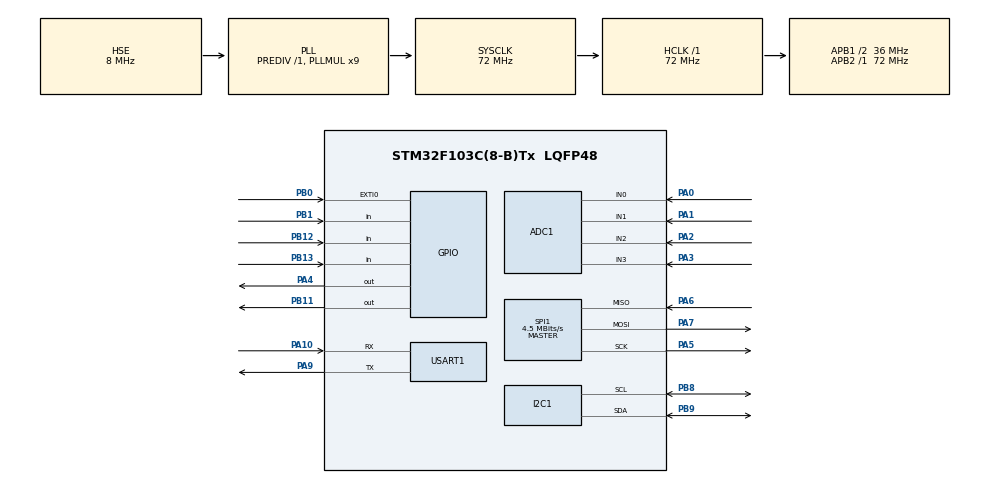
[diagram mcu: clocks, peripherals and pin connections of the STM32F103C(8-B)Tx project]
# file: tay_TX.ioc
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ADC1.Channel-0\#ChannelRegularConversion=ADC_CHANNEL_0
ADC1.NbrOfConversionFlag=1
ADC1.Rank-0\#ChannelRegularConversion=1
ADC1.SamplingTime-0\#ChannelRegularConversion=ADC_SAMPLETIME_1CYCLE_5
ADC1.master=1
Mcu.Family=STM32F1
Mcu.Name=STM32F103C(8-B)Tx
Mcu.Package=LQFP48
NVIC.PriorityGroup=NVIC_PRIORITYGROUP_4
PA0-WKUP.Signal=ADCx_IN0
PA1.Signal=ADCx_IN1
PA10.Mode=Asynchronous
PA10.Signal=USART1_RX
PA13.Mode=Serial_Wire
PA13.Signal=SYS_JTMS-SWDIO
PA14.Mode=Serial_Wire
PA14.Signal=SYS_JTCK-SWCLK
PA2.Signal=ADCx_IN2
PA3.Signal=ADCx_IN3
PA4.GPIO_Speed=GPIO_SPEED_FREQ_HIGH
PA4.PinState=GPIO_PIN_SET
PA4.Signal=GPIO_Output
PA5.Mode=Full_Duplex_Master
PA5.Signal=SPI1_SCK
PA6.Mode=Full_Duplex_Master
PA6.Signal=SPI1_MISO
PA7.Mode=Full_Duplex_Master
PA7.Signal=SPI1_MOSI
PA9.Mode=Asynchronous
PA9.Signal=USART1_TX
PB0.Signal=GPXTI0
PB1.Signal=GPIO_Input
PB11.Signal=GPIO_Output
PB12.GPIO_PuPd=GPIO_PULLUP
PB12.Signal=GPIO_Input
PB13.GPIO_PuPd=GPIO_PULLUP
PB13.Signal=GPIO_Input
PB8.Mode=I2C
PB8.Signal=I2C1_SCL
PB9.Mode=I2C
PB9.Signal=I2C1_SDA
PD0-OSC_IN.Mode=HSE-External-Oscillator
PD0-OSC_IN.Signal=RCC_OSC_IN
PD1-OSC_OUT.Mode=HSE-External-Oscillator
PD1-OSC_OUT.Signal=RCC_OSC_OUT
ProjectManager.HeapSize=0x200
ProjectManager.StackSize=0x400
ProjectManager.TargetToolchain=STM32CubeIDE
RCC.ADCPresc=RCC_ADCPCLK2_DIV6
RCC.AHBFreq_Value=72000000
RCC.APB1CLKDivider=RCC_HCLK_DIV2
RCC.APB1Freq_Value=36000000
RCC.APB1TimFreq_Value=72000000
RCC.APB2Freq_Value=72000000
RCC.APB2TimFreq_Value=72000000
RCC.HCLKFreq_Value=72000000
RCC.PLLMUL=RCC_PLL_MUL9
RCC.PLLSourceVirtual=RCC_PLLSOURCE_HSE
RCC.SYSCLKFreq_VALUE=72000000
RCC.SYSCLKSource=RCC_SYSCLKSOURCE_PLLCLK
RCC.USBFreq_Value=72000000
SH.ADCx_IN0.0=ADC1_IN0,IN0
SH.ADCx_IN1.0=ADC1_IN1,IN1
SH.ADCx_IN2.0=ADC1_IN2,IN2
SH.ADCx_IN3.0=ADC1_IN3,IN3
SPI1.BaudRatePrescaler=SPI_BAUDRATEPRESCALER_16
SPI1.CalculateBaudRate=4.5 MBits/s
SPI1.Direction=SPI_DIRECTION_2LINES
SPI1.Mode=SPI_MODE_MASTER
SPI1.VirtualType=VM_MASTER
USART1.VirtualMode=VM_ASYNC
board=custom

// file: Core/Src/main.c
/* USER CODE BEGIN Header */
/**
  ******************************************************************************
  * @file           : main.c
  * @brief          : Main program body
  ******************************************************************************
  * @attention
  *
  * Copyright (c) 2026 STMicroelectronics.
  * All rights reserved.
  *
  * This software is licensed under terms that can be found in the LICENSE file
  * in the root directory of this software component.
  * If no LICENSE file comes with this software, it is provided AS-IS.
  *
  ******************************************************************************
  */
/* USER CODE END Header */
#include "main.h"

/* USER CODE BEGIN Includes */
#include "ssd1306.h"
#include "ssd1306_fonts.h"
#include "LoRa.h"
#include <stdio.h>
#include <string.h>
/* USER CODE END Includes */

/* USER CODE BEGIN PTD */
typedef struct __attribute__((packed))
{
    uint16_t j1x;
    uint16_t j1y;
    uint16_t j2x;
    uint16_t j2y;
    uint8_t  sw1;
    uint8_t  sw2;
    uint16_t crc;
} ControlPacket;
/* USER CODE END PTD */

/* USER CODE BEGIN PD */
#define LORA_FREQ_MHZ       915
#define TX_PERIOD_MS        20
/* USER CODE END PD */

ADC_HandleTypeDef hadc1;

I2C_HandleTypeDef hi2c1;

SPI_HandleTypeDef hspi1;

UART_HandleTypeDef huart1;

/* USER CODE BEGIN PV */
LoRa myLoRa;
/* USER CODE END PV */

void SystemClock_Config(void);
static void MX_GPIO_Init(void);
static void MX_ADC1_Init(void);
static void MX_I2C1_Init(void);
static void MX_SPI1_Init(void);
static void MX_USART1_UART_Init(void);
/* USER CODE BEGIN PFP */
void LoRa_TX_Init(void);
uint16_t simple_crc16(uint8_t *data, uint16_t len);
uint16_t ADC_Read_Channel(uint32_t channel);
uint16_t ADC_Read_Avg(uint32_t channel);
uint8_t SW1_Read(void);
uint8_t SW2_Read(void);
void UART_Send_Status(uint16_t j1x, uint16_t j1y, uint8_t sw1,
                      uint16_t j2x, uint16_t j2y, uint8_t sw2,
                      uint8_t tx_ok);
void OLED_Show_Status(uint16_t j1x, uint16_t j1y, uint8_t sw1,
                      uint16_t j2x, uint16_t j2y, uint8_t sw2,
                      uint8_t tx_ok);
/* USER CODE END PFP */

/* USER CODE BEGIN 0 */
uint16_t Apply_Deadband(uint16_t val, uint16_t center, uint16_t deadband)
{
    if (val > (center - deadband) && val < (center + deadband))
        return center;
    return val;
}
uint16_t simple_crc16(uint8_t *data, uint16_t len)
{
    uint16_t crc = 0xFFFF;

    for (uint16_t i = 0; i < len; i++)
    {
        crc ^= data[i];
        for (uint8_t j = 0; j < 8; j++)
        {
            if (crc & 1U)
            {
                crc = (crc >> 1) ^ 0xA001;
            }
            else
            {
                crc >>= 1;
            }
        }
    }

    return crc;
}

uint16_t ADC_Read_Channel(uint32_t channel)
{
    ADC_ChannelConfTypeDef sConfig = {0};

    sConfig.Channel = channel;
    sConfig.Rank = ADC_REGULAR_RANK_1;
    sConfig.SamplingTime = ADC_SAMPLETIME_71CYCLES_5;

    HAL_ADC_ConfigChannel(&hadc1, &sConfig);
    HAL_ADC_Start(&hadc1);
    HAL_ADC_PollForConversion(&hadc1, 10);

    uint16_t value = HAL_ADC_GetValue(&hadc1);

    HAL_ADC_Stop(&hadc1);
    return value;
}

uint16_t ADC_Read_Avg(uint32_t channel)
{
    uint32_t sum = 0;
    for (int i = 0; i < 8; i++)
    {
        sum += ADC_Read_Channel(channel);
    }
    return (uint16_t)(sum / 8U);
}

uint8_t SW1_Read(void)
{
    return (HAL_GPIO_ReadPin(GPIOB, GPIO_PIN_12) == GPIO_PIN_RESET) ? 1U : 0U;
}

uint8_t SW2_Read(void)
{
    return (HAL_GPIO_ReadPin(GPIOB, GPIO_PIN_13) == GPIO_PIN_RESET) ? 1U : 0U;
}

void UART_Send_Status(uint16_t j1x, uint16_t j1y, uint8_t sw1,
                      uint16_t j2x, uint16_t j2y, uint8_t sw2,
                      uint8_t tx_ok)
{
    char buffer[120];

    snprintf(buffer, sizeof(buffer),
             "J1:%4u,%4u SW1:%u | J2:%4u,%4u SW2:%u | %s\r\n",
             j1x, j1y, sw1, j2x, j2y, sw2, tx_ok ? "TX_OK" : "TX_FAIL");

    HAL_UART_Transmit(&huart1, (uint8_t *)buffer, strlen(buffer), 100);
}

void OLED_Show_Status(uint16_t j1x, uint16_t j1y, uint8_t sw1,
                      uint16_t j2x, uint16_t j2y, uint8_t sw2,
                      uint8_t tx_ok)
{
    char line[24];

    ssd1306_Fill(Black);

    ssd1306_SetCursor(0, 0);
    ssd1306_WriteString((char *)(tx_ok ? "LORA TX OK 915MHz" : "LORA TX FAIL"), Font_7x10, White);

    snprintf(line, sizeof(line), "J1 %4u %4u", j1x, j1y);
    ssd1306_SetCursor(15, 16);
    ssd1306_WriteString(line, Font_7x10, White);

    snprintf(line, sizeof(line), "J2 %4u %4u", j2x, j2y);
    ssd1306_SetCursor(15, 28);
    ssd1306_WriteString(line, Font_7x10, White);

    snprintf(line, sizeof(line), "S1:%u S2:%u", sw1, sw2);
    ssd1306_SetCursor(36, 40);
    ssd1306_WriteString(line, Font_7x10, White);

    ssd1306_UpdateScreen();
}

void LoRa_TX_Init(void)
{
    char msg[64];

    HAL_GPIO_WritePin(GPIOA, GPIO_PIN_4, GPIO_PIN_SET);

    HAL_GPIO_WritePin(GPIOB, GPIO_PIN_11, GPIO_PIN_RESET);
    HAL_Delay(20);
    HAL_GPIO_WritePin(GPIOB, GPIO_PIN_11, GPIO_PIN_SET);
    HAL_Delay(20);

    myLoRa = newLoRa();
    myLoRa.hSPIx = &hspi1;

    myLoRa.CS_port = GPIOA;
    myLoRa.CS_pin = GPIO_PIN_4;

    myLoRa.reset_port = GPIOB;
    myLoRa.reset_pin = GPIO_PIN_11;

    myLoRa.DIO0_port = GPIOB;
    myLoRa.DIO0_pin = GPIO_PIN_0;

    myLoRa.frequency = 915;
    myLoRa.spredingFactor = SF_7;
    myLoRa.bandWidth = BW_125KHz;
    myLoRa.crcRate = CR_4_5;
    myLoRa.power = POWER_20db;
    myLoRa.overCurrentProtection = 100;
    myLoRa.preamble = 8;

    if (LoRa_init(&myLoRa) == LORA_OK)
    {
        sprintf(msg, "LoRa init OK\r\n");
        HAL_UART_Transmit(&huart1, (uint8_t*)msg, strlen(msg), 100);

        ssd1306_Fill(Black);
        ssd1306_SetCursor(0, 0);
        ssd1306_WriteString("LoRa init OK", Font_7x10, White);
        ssd1306_UpdateScreen();
    }
    else
    {
        sprintf(msg, "LoRa init FAIL\r\n");
        HAL_UART_Transmit(&huart1, (uint8_t*)msg, strlen(msg), 100);

        ssd1306_Fill(Black);
        ssd1306_SetCursor(0, 0);
        ssd1306_WriteString("LoRa init FAIL", Font_7x10, White);
        ssd1306_UpdateScreen();

        while (1);
    }
}
/* USER CODE END 0 */

int main(void)
{

  /* MCU Configuration--------------------------------------------------------*/

  /* Reset of all peripherals, Initializes the Flash interface and the Systick. */
  HAL_Init();

  /* Configure the system clock */
  SystemClock_Config();

  /* Initialize all configured peripherals */
  MX_GPIO_Init();
  MX_ADC1_Init();
  MX_I2C1_Init();
  MX_SPI1_Init();
  MX_USART1_UART_Init();
  /* USER CODE BEGIN 2 */
  HAL_Delay(20);

  ssd1306_Init();
  ssd1306_Fill(Black);
  ssd1306_SetCursor(0, 0);
  ssd1306_WriteString("TX BOOT", Font_7x10, White);
  ssd1306_UpdateScreen();

  LoRa_TX_Init();
  /* USER CODE END 2 */

  /* Infinite loop */
  /* USER CODE BEGIN WHILE */
  while (1)
  {
    uint16_t j1x = ADC_Read_Avg(ADC_CHANNEL_0);
    uint16_t j1y = ADC_Read_Avg(ADC_CHANNEL_1);
    uint16_t j2x = ADC_Read_Avg(ADC_CHANNEL_2);
    uint16_t j2y = ADC_Read_Avg(ADC_CHANNEL_3);

    uint8_t sw1 = SW1_Read();
    uint8_t sw2 = SW2_Read();

    j1x = Apply_Deadband(j1x, 2000, 80);
    j1y = Apply_Deadband(j1y, 2000, 80);
    j2x = Apply_Deadband(j2x, 2000, 80);
    j2y = Apply_Deadband(j2y, 2000, 80);

    ControlPacket pkt;
    pkt.j1x = j1x;
    pkt.j1y = j1y;
    pkt.j2x = j2x;
    pkt.j2y = j2y;
    pkt.sw1 = sw1;
    pkt.sw2 = sw2;
    pkt.crc = 0;
    pkt.crc = simple_crc16((uint8_t *)&pkt, sizeof(ControlPacket) - sizeof(pkt.crc));

    uint8_t tx_ok = LoRa_transmit(&myLoRa, (uint8_t *)&pkt, sizeof(ControlPacket), 200);

    UART_Send_Status(j1x, j1y, sw1, j2x, j2y, sw2, tx_ok);
    OLED_Show_Status(j1x, j1y, sw1, j2x, j2y, sw2, tx_ok);

    HAL_Delay(TX_PERIOD_MS);
    /* USER CODE END WHILE */

  }
}

void SystemClock_Config(void)
{
  RCC_OscInitTypeDef RCC_OscInitStruct = {0};
  RCC_ClkInitTypeDef RCC_ClkInitStruct = {0};
  RCC_PeriphCLKInitTypeDef PeriphClkInit = {0};

  /** Initializes the RCC Oscillators according to the specified parameters
  * in the RCC_OscInitTypeDef structure.
  */
  RCC_OscInitStruct.OscillatorType = RCC_OSCILLATORTYPE_HSE;
  RCC_OscInitStruct.HSEState = RCC_HSE_ON;
  RCC_OscInitStruct.HSEPredivValue = RCC_HSE_PREDIV_DIV1;
  RCC_OscInitStruct.HSIState = RCC_HSI_ON;
  RCC_OscInitStruct.PLL.PLLState = RCC_PLL_ON;
  RCC_OscInitStruct.PLL.PLLSource = RCC_PLLSOURCE_HSE;
  RCC_OscInitStruct.PLL.PLLMUL = RCC_PLL_MUL9;
  if (HAL_RCC_OscConfig(&RCC_OscInitStruct) != HAL_OK)
  {
    Error_Handler();
  }

  /** Initializes the CPU, AHB and APB buses clocks
  */
  RCC_ClkInitStruct.ClockType = RCC_CLOCKTYPE_HCLK|RCC_CLOCKTYPE_SYSCLK
                              |RCC_CLOCKTYPE_PCLK1|RCC_CLOCKTYPE_PCLK2;
  RCC_ClkInitStruct.SYSCLKSource = RCC_SYSCLKSOURCE_PLLCLK;
  RCC_ClkInitStruct.AHBCLKDivider = RCC_SYSCLK_DIV1;
  RCC_ClkInitStruct.APB1CLKDivider = RCC_HCLK_DIV2;
  RCC_ClkInitStruct.APB2CLKDivider = RCC_HCLK_DIV1;

  if (HAL_RCC_ClockConfig(&RCC_ClkInitStruct, FLASH_LATENCY_2) != HAL_OK)
  {
    Error_Handler();
  }
  PeriphClkInit.PeriphClockSelection = RCC_PERIPHCLK_ADC;
  PeriphClkInit.AdcClockSelection = RCC_ADCPCLK2_DIV6;
  if (HAL_RCCEx_PeriphCLKConfig(&PeriphClkInit) != HAL_OK)
  {
    Error_Handler();
  }
}

static void MX_ADC1_Init(void)
{

  ADC_ChannelConfTypeDef sConfig = {0};

  /** Common config
  */
  hadc1.Instance = ADC1;
  hadc1.Init.ScanConvMode = ADC_SCAN_DISABLE;
  hadc1.Init.ContinuousConvMode = DISABLE;
  hadc1.Init.DiscontinuousConvMode = DISABLE;
  hadc1.Init.ExternalTrigConv = ADC_SOFTWARE_START;
  hadc1.Init.DataAlign = ADC_DATAALIGN_RIGHT;
  hadc1.Init.NbrOfConversion = 1;
  if (HAL_ADC_Init(&hadc1) != HAL_OK)
  {
    Error_Handler();
  }

  /** Configure Regular Channel
  */
  sConfig.Channel = ADC_CHANNEL_0;
  sConfig.Rank = ADC_REGULAR_RANK_1;
  sConfig.SamplingTime = ADC_SAMPLETIME_1CYCLE_5;
  if (HAL_ADC_ConfigChannel(&hadc1, &sConfig) != HAL_OK)
  {
    Error_Handler();
  }

}

static void MX_I2C1_Init(void)
{

  hi2c1.Instance = I2C1;
  hi2c1.Init.ClockSpeed = 100000;
  hi2c1.Init.DutyCycle = I2C_DUTYCYCLE_2;
  hi2c1.Init.OwnAddress1 = 0;
  hi2c1.Init.AddressingMode = I2C_ADDRESSINGMODE_7BIT;
  hi2c1.Init.DualAddressMode = I2C_DUALADDRESS_DISABLE;
  hi2c1.Init.OwnAddress2 = 0;
  hi2c1.Init.GeneralCallMode = I2C_GENERALCALL_DISABLE;
  hi2c1.Init.NoStretchMode = I2C_NOSTRETCH_DISABLE;
  if (HAL_I2C_Init(&hi2c1) != HAL_OK)
  {
    Error_Handler();
  }

}

static void MX_SPI1_Init(void)
{

  /* SPI1 parameter configuration*/
  hspi1.Instance = SPI1;
  hspi1.Init.Mode = SPI_MODE_MASTER;
  hspi1.Init.Direction = SPI_DIRECTION_2LINES;
  hspi1.Init.DataSize = SPI_DATASIZE_8BIT;
  hspi1.Init.CLKPolarity = SPI_POLARITY_LOW;
  hspi1.Init.CLKPhase = SPI_PHASE_1EDGE;
  hspi1.Init.NSS = SPI_NSS_SOFT;
  hspi1.Init.BaudRatePrescaler = SPI_BAUDRATEPRESCALER_16;
  hspi1.Init.FirstBit = SPI_FIRSTBIT_MSB;
  hspi1.Init.TIMode = SPI_TIMODE_DISABLE;
  hspi1.Init.CRCCalculation = SPI_CRCCALCULATION_DISABLE;
  hspi1.Init.CRCPolynomial = 10;
  if (HAL_SPI_Init(&hspi1) != HAL_OK)
  {
    Error_Handler();
  }

}

static void MX_USART1_UART_Init(void)
{

  huart1.Instance = USART1;
  huart1.Init.BaudRate = 115200;
  huart1.Init.WordLength = UART_WORDLENGTH_8B;
  huart1.Init.StopBits = UART_STOPBITS_1;
  huart1.Init.Parity = UART_PARITY_NONE;
  huart1.Init.Mode = UART_MODE_TX_RX;
  huart1.Init.HwFlowCtl = UART_HWCONTROL_NONE;
  huart1.Init.OverSampling = UART_OVERSAMPLING_16;
  if (HAL_UART_Init(&huart1) != HAL_OK)
  {
    Error_Handler();
  }

}

static void MX_GPIO_Init(void)
{
  GPIO_InitTypeDef GPIO_InitStruct = {0};

  /* GPIO Ports Clock Enable */
  __HAL_RCC_GPIOD_CLK_ENABLE();
  __HAL_RCC_GPIOA_CLK_ENABLE();
  __HAL_RCC_GPIOB_CLK_ENABLE();

  /*Configure GPIO pin Output Level */
  HAL_GPIO_WritePin(GPIOA, GPIO_PIN_4, GPIO_PIN_SET);

  /*Configure GPIO pin Output Level */
  HAL_GPIO_WritePin(GPIOB, GPIO_PIN_11, GPIO_PIN_RESET);

  /*Configure GPIO pin : PA4 */
  GPIO_InitStruct.Pin = GPIO_PIN_4;
  GPIO_InitStruct.Mode = GPIO_MODE_OUTPUT_PP;
  GPIO_InitStruct.Pull = GPIO_NOPULL;
  GPIO_InitStruct.Speed = GPIO_SPEED_FREQ_HIGH;
  HAL_GPIO_Init(GPIOA, &GPIO_InitStruct);

  /*Configure GPIO pin : PB0 */
  GPIO_InitStruct.Pin = GPIO_PIN_0;
  GPIO_InitStruct.Mode = GPIO_MODE_IT_RISING;
  GPIO_InitStruct.Pull = GPIO_NOPULL;
  HAL_GPIO_Init(GPIOB, &GPIO_InitStruct);

  /*Configure GPIO pin : PB1 */
  GPIO_InitStruct.Pin = GPIO_PIN_1;
  GPIO_InitStruct.Mode = GPIO_MODE_INPUT;
  GPIO_InitStruct.Pull = GPIO_NOPULL;
  HAL_GPIO_Init(GPIOB, &GPIO_InitStruct);

  /*Configure GPIO pin : PB11 */
  GPIO_InitStruct.Pin = GPIO_PIN_11;
  GPIO_InitStruct.Mode = GPIO_MODE_OUTPUT_PP;
  GPIO_InitStruct.Pull = GPIO_NOPULL;
  GPIO_InitStruct.Speed = GPIO_SPEED_FREQ_LOW;
  HAL_GPIO_Init(GPIOB, &GPIO_InitStruct);

  /*Configure GPIO pins : PB12 PB13 */
  GPIO_InitStruct.Pin = GPIO_PIN_12|GPIO_PIN_13;
  GPIO_InitStruct.Mode = GPIO_MODE_INPUT;
  GPIO_InitStruct.Pull = GPIO_PULLUP;
  HAL_GPIO_Init(GPIOB, &GPIO_InitStruct);

}

void Error_Handler(void)
{
  __disable_irq();
  while (1)
  {
  }
}
